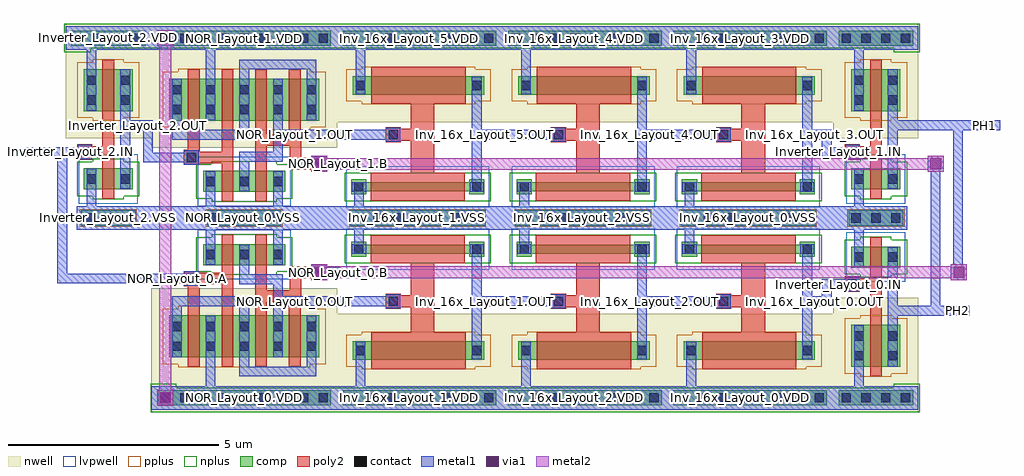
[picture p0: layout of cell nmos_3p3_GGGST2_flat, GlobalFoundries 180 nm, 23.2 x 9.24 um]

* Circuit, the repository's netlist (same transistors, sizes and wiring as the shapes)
* NGSPICE file created from Non_Ovl_CLK_Gen_Layout.ext - technology: gf180mcuC

.subckt nmos_3p3_T3QPFJ a_n316_n36# a_224_n22# a_n224_n66# VSUBS
X0 a_224_n22# a_n224_n66# a_n316_n36# VSUBS nfet_03v3 ad=0.152p pd=1.64u as=0.152p ps=1.64u w=0.22u l=2.24u
.ends

.subckt pmos_3p3_HYFKQ3 w_n398_n174# a_n312_n44# a_224_n44# a_n224_n88#
X0 a_224_n44# a_n224_n88# a_n312_n44# w_n398_n174# pfet_03v3 ad=0.194p pd=1.76u as=0.194p ps=1.76u w=0.44u l=2.24u
.ends

.subckt Inv_16x_Layout IN OUT VSS VDD
Xnmos_3p3_T3QPFJ_0 VSS OUT IN VSS nmos_3p3_T3QPFJ
Xpmos_3p3_HYFKQ3_0 VDD VDD OUT IN pmos_3p3_HYFKQ3
.ends

.subckt nmos_3p3_GGGST2 a_n28_n94# a_n116_n50# a_28_n50# VSUBS
X0 a_28_n50# a_n28_n94# a_n116_n50# VSUBS nfet_03v3 ad=0.22p pd=1.88u as=0.22p ps=1.88u w=0.5u l=0.28u
.ends

.subckt pmos_3p3_MNVUAR w_n202_n230# a_28_n100# a_n28_n144# a_n116_n100#
X0 a_28_n100# a_n28_n144# a_n116_n100# w_n202_n230# pfet_03v3 ad=0.44p pd=2.88u as=0.44p ps=2.88u w=1u l=0.28u
.ends

.subckt Inverter_Layout IN OUT VSS VDD
Xnmos_3p3_GGGST2_0 IN VSS OUT VSS nmos_3p3_GGGST2
Xpmos_3p3_MNVUAR_0 VDD OUT IN VDD pmos_3p3_MNVUAR
.ends

.subckt pmos_3p3_MEVUAR a_n196_n100# a_n52_n100# w_n282_n230# a_108_n100# a_52_n144#
+ a_n108_n144#
X0 a_n52_n100# a_n108_n144# a_n196_n100# w_n282_n230# pfet_03v3 ad=0.26p pd=1.52u as=0.44p ps=2.88u w=1u l=0.28u
X1 a_108_n100# a_52_n144# a_n52_n100# w_n282_n230# pfet_03v3 ad=0.44p pd=2.88u as=0.26p ps=1.52u w=1u l=0.28u
.ends

.subckt NOR_Layout A B OUT VDD VSS
Xpmos_3p3_MEVUAR_0 m1_99_317# OUT VDD m1_99_317# B B pmos_3p3_MEVUAR
Xpmos_3p3_MEVUAR_1 m1_99_317# VDD VDD m1_99_317# A A pmos_3p3_MEVUAR
Xnmos_3p3_GGGST2_0 B OUT VSS VSS nmos_3p3_GGGST2
Xnmos_3p3_GGGST2_1 A VSS OUT VSS nmos_3p3_GGGST2
.ends

**.subckt Non_Ovl_CLK_Gen_Layout VIN PH1A PH1 PH2 VSS VDD
XInv_16x_Layout_0 Inv_16x_Layout_0/IN Inverter_Layout_0/IN VSS VDD Inv_16x_Layout
XInv_16x_Layout_1 NOR_Layout_0/OUT Inv_16x_Layout_2/IN VSS VDD Inv_16x_Layout
XInv_16x_Layout_2 Inv_16x_Layout_2/IN Inv_16x_Layout_0/IN VSS VDD Inv_16x_Layout
XInv_16x_Layout_3 Inv_16x_Layout_3/IN Inverter_Layout_1/IN VSS VDD Inv_16x_Layout
XInv_16x_Layout_4 Inv_16x_Layout_4/IN Inv_16x_Layout_3/IN VSS VDD Inv_16x_Layout
XInv_16x_Layout_5 PH1A Inv_16x_Layout_4/IN VSS VDD Inv_16x_Layout
XInverter_Layout_1 Inverter_Layout_1/IN PH1 VSS VDD Inverter_Layout
XInverter_Layout_0 Inverter_Layout_0/IN PH2 VSS VDD Inverter_Layout
XInverter_Layout_2 VIN NOR_Layout_1/A VSS VDD Inverter_Layout
XNOR_Layout_0 VIN PH1 NOR_Layout_0/OUT VDD VSS NOR_Layout
XNOR_Layout_1 NOR_Layout_1/A PH2 PH1A VDD VSS NOR_Layout
**.ends

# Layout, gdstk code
import gdstk
lib = gdstk.Library(unit=1e-6, precision=1e-09)
def R(c, l, rs):  # rectangles x0, y0, x1, y1
    for r in rs: c.add(gdstk.rectangle(r[:2], r[2:], *l))
def A(c, l, x, y, w, h, nx, ny, dx, dy):  # array of equal rectangles
    R(c, l, [(x+i*dx, y+j*dy, x+i*dx+w, y+j*dy+h) for i in range(nx) for j in range(ny)])
nwell = (21, 0)
comp = (22, 0)
poly2 = (30, 0)
pplus = (31, 0)
nplus = (32, 0)
contact = (33, 0)
metal1 = (34, 0)
via1 = (35, 0)
metal2 = (36, 0)
lvpwell = (204, 0)

nmos_3p3_gggst2_flat = lib.new_cell('nmos_3p3_GGGST2_flat')
R(nmos_3p3_gggst2_flat, nwell, [(-4.365,-4.34,13.87,-2), (-4.365,-2,0.055,-1.385), (11.85,-2,13.87,-1.61), (-4.365,1.945,0.055,2.17), (-6.395,2.17,0.055,2.56), (11.85,2.17,13.87,2.56), (-6.395,2.56,13.87,4.9)])
A(nmos_3p3_gggst2_flat, comp, 0.185, -4.175, 3.65, 0.36, 3, 2, 3.93, 8.55)
A(nmos_3p3_gggst2_flat, comp, 0.43, -3.09, 3.12, 0.44, 3, 2, 3.93, 6.3)
A(nmos_3p3_gggst2_flat, comp, 0.39, -0.57, 3.16, 0.22, 3, 2, 3.93, 1.48)
A(nmos_3p3_gggst2_flat, comp, 0.37, 0.1, 3.2, 0.36, 3, 1, 3.93, 0)
R(nmos_3p3_gggst2_flat, comp, [(-4.215,-4.175,-0.095,-3.815), (11.975,-4.175,13.745,-3.815), (12.28,-3.26,13.44,-2.26), (-3.935,-3.035,-0.375,-2.035), (12.28,-0.9,13.44,-0.4), (-3.135,-0.84,-1.175,-0.34), (0.39,-0.64,0.75,-0.57), (3.19,-0.64,3.55,-0.57), (4.32,-0.64,4.68,-0.57), (7.12,-0.64,7.48,-0.57), (8.25,-0.64,8.61,-0.57), (11.05,-0.64,11.41,-0.57), (0.39,-0.35,0.75,-0.28), (3.19,-0.35,3.55,-0.28), (4.32,-0.35,4.68,-0.28), (7.12,-0.35,7.48,-0.28), (8.25,-0.35,8.61,-0.28), (11.05,-0.35,11.41,-0.28), (-6.035,0.1,-4.735,0.46), (-3.04,0.1,-1.27,0.46), (12.21,0.1,13.51,0.46), (0.39,0.84,0.75,0.91), (3.19,0.84,3.55,0.91), (4.32,0.84,4.68,0.91), (7.12,0.84,7.48,0.91), (8.25,0.84,8.61,0.91), (11.05,0.84,11.41,0.91), (-3.135,0.9,-1.175,1.4), (-5.965,0.96,-4.805,1.46), (12.28,0.96,13.44,1.46), (0.39,1.13,0.75,1.2), (3.19,1.13,3.55,1.2), (4.32,1.13,4.68,1.2), (7.12,1.13,7.48,1.2), (8.25,1.13,8.61,1.2), (11.05,1.13,11.41,1.2), (-3.935,2.595,-0.375,3.595), (-5.965,2.82,-4.805,3.82), (12.28,2.82,13.44,3.82), (-6.27,4.375,-4.5,4.735), (-4.215,4.375,-0.095,4.735), (11.975,4.375,13.745,4.735)])
A(nmos_3p3_gggst2_flat, poly2, 0.87, -3.31, 2.24, 0.88, 3, 2, 3.93, 6.3)
A(nmos_3p3_gggst2_flat, poly2, 1.805, -2.43, 0.56, 0.59, 3, 2, 3.93, 4.83)
A(nmos_3p3_gggst2_flat, poly2, 1.205, -1.88, 0.36, 0.04, 3, 2, 3.93, 0.32)
A(nmos_3p3_gggst2_flat, poly2, 1.205, -1.84, 1.16, 0.28, 3, 2, 3.93, 3.96)
A(nmos_3p3_gggst2_flat, poly2, 1.805, -1.56, 0.56, 0.77, 3, 2, 3.93, 2.91)
A(nmos_3p3_gggst2_flat, poly2, 0.85, -0.79, 2.24, 0.66, 3, 2, 3.93, 1.48)
A(nmos_3p3_gggst2_flat, poly2, 1.205, 2.08, 0.36, 0.04, 3, 2, 3.93, 0.32)
R(nmos_3p3_gggst2_flat, poly2, [(12.72,-3.48,13,-1.43), (-3.495,-3.255,-3.215,-1.34), (-2.695,-3.255,-2.415,-1.3), (-1.895,-3.255,-1.615,-1.715), (-1.095,-3.255,-0.815,-1.715), (-1.895,-1.715,-0.795,-1.435), (12.12,-1.47,12.48,-1.43), (-1.895,-1.435,-1.615,-0.12), (-1.075,-1.435,-0.795,-1.15), (12.12,-1.43,13,-1.15), (-3.59,-1.34,-3.215,-1.3), (-3.59,-1.3,-2.415,-1.02), (-0.555,-1.19,-0.195,-1.15), (-1.075,-1.15,-0.195,-0.87), (12.12,-1.15,12.48,-1.11), (12.72,-1.15,13,-0.18), (-3.59,-1.02,-3.23,-0.98), (-2.695,-1.02,-2.415,-0.12), (-0.555,-0.87,-0.195,-0.825), (-2.695,0.68,-2.415,1.58), (-1.895,0.68,-1.615,1.995), (-5.525,0.74,-5.245,1.71), (12.72,0.74,13,1.71), (-0.555,1.385,-0.195,1.43), (-1.075,1.43,-0.195,1.71), (-3.59,1.54,-3.23,1.58), (-3.59,1.58,-2.415,1.86), (-6.125,1.67,-5.765,1.71), (12.12,1.67,12.48,1.71), (-6.125,1.71,-5.245,1.99), (-1.075,1.71,-0.795,1.995), (-0.555,1.71,-0.195,1.75), (12.12,1.71,13,1.99), (-3.59,1.86,-3.215,1.9), (-2.695,1.86,-2.415,3.815), (-3.495,1.9,-3.215,3.815), (-6.125,1.99,-5.765,2.03), (-5.525,1.99,-5.245,4.04), (12.12,1.99,12.48,2.03), (12.72,1.99,13,4.04), (-1.895,1.995,-0.795,2.275), (-1.895,2.275,-1.615,3.815), (-1.095,2.275,-0.815,3.815)])
A(nmos_3p3_gggst2_flat, pplus, 0.64, -3.32, 2.7, 0.07, 3, 2, 3.93, 0.83)
A(nmos_3p3_gggst2_flat, pplus, 0.27, -3.25, 3.44, 0.76, 3, 2, 3.93, 6.3)
A(nmos_3p3_gggst2_flat, pplus, 0.34, 0.07, 3.24, 0.01, 3, 2, 3.93, 0.41)
A(nmos_3p3_gggst2_flat, pplus, 0.34, 0.08, 3.25, 0.4, 3, 1, 3.93, 0)
A(nmos_3p3_gggst2_flat, pplus, 0.64, 2.98, 2.7, 0.07, 3, 2, 3.93, 0.83)
R(nmos_3p3_gggst2_flat, pplus, [(12.49,-3.49,13.23,-3.42), (12.12,-3.42,13.6,-2.1), (-3.725,-3.265,-0.585,-3.195), (-4.095,-3.195,-0.215,-1.875), (12.49,-2.1,13.23,-2.03), (-3.725,-1.875,-0.585,-1.805), (-6.065,0.07,-4.705,0.49), (-3.07,0.07,-1.24,0.49), (12.18,0.07,13.54,0.49), (-3.725,2.365,-0.585,2.435), (-4.095,2.435,-0.215,3.755), (-5.755,2.59,-5.015,2.66), (12.49,2.59,13.23,2.66), (-6.125,2.66,-4.645,3.98), (12.12,2.66,13.6,3.98), (-3.725,3.755,-0.585,3.825), (-5.755,3.98,-5.015,4.05), (12.49,3.98,13.23,4.05)])
A(nmos_3p3_gggst2_flat, nplus, 0.23, -0.8, 3.48, 0.68, 3, 2, 3.93, 1.48)
R(nmos_3p3_gggst2_flat, nplus, [(-4.375,-4.335,13.905,-3.75), (-4.375,-3.75,-3.775,-3.655), (13.28,-3.75,13.905,-3.655), (12.49,-1.13,13.23,-1.06), (-2.925,-1.07,-1.385,-1), (12.12,-1.06,13.6,-0.24), (-3.295,-1,-1.015,-0.18), (12.49,-0.24,13.23,-0.17), (-2.925,-0.18,-1.385,-0.11), (-2.925,0.67,-1.385,0.74), (-5.755,0.73,-5.015,0.8), (12.49,0.73,13.23,0.8), (-3.295,0.74,-1.015,1.56), (-6.125,0.8,-4.645,1.62), (12.12,0.8,13.6,1.62), (-2.925,1.56,-1.385,1.63), (-5.755,1.62,-5.015,1.69), (12.49,1.62,13.23,1.69), (-6.43,4.215,-5.805,4.31), (13.28,4.215,13.905,4.31), (-6.43,4.31,13.905,4.895)])
A(nmos_3p3_gggst2_flat, contact, -4.145, -4.105, 0.22, 0.22, 9, 2, 0.47, 8.55)
A(nmos_3p3_gggst2_flat, contact, 0.255, -4.105, 0.22, 0.22, 8, 2, 0.47, 8.55)
A(nmos_3p3_gggst2_flat, contact, 4.185, -4.105, 0.22, 0.22, 8, 2, 0.47, 8.55)
A(nmos_3p3_gggst2_flat, contact, 8.115, -4.105, 0.22, 0.22, 8, 2, 0.47, 8.55)
A(nmos_3p3_gggst2_flat, contact, 12.045, -4.105, 0.22, 0.22, 4, 2, 0.47, 8.55)
A(nmos_3p3_gggst2_flat, contact, -3.865, -2.88, 0.22, 0.22, 5, 2, 0.8, 0.47)
A(nmos_3p3_gggst2_flat, contact, 1.275, -1.81, 0.22, 0.22, 3, 2, 3.93, 3.96)
A(nmos_3p3_gggst2_flat, contact, -3.065, -0.7, 0.22, 0.22, 3, 2, 0.8, 1.74)
A(nmos_3p3_gggst2_flat, contact, -5.965, 0.17, 0.22, 0.22, 3, 1, 0.47, 0)
A(nmos_3p3_gggst2_flat, contact, -2.97, 0.17, 0.22, 0.22, 4, 1, 0.47, 0)
A(nmos_3p3_gggst2_flat, contact, 0.44, 0.17, 0.22, 0.22, 7, 1, 0.47, 0)
A(nmos_3p3_gggst2_flat, contact, 4.37, 0.17, 0.22, 0.22, 7, 1, 0.47, 0)
A(nmos_3p3_gggst2_flat, contact, 8.3, 0.17, 0.22, 0.22, 7, 1, 0.47, 0)
A(nmos_3p3_gggst2_flat, contact, 12.28, 0.17, 0.22, 0.22, 3, 1, 0.47, 0)
A(nmos_3p3_gggst2_flat, contact, -3.865, 2.75, 0.22, 0.22, 5, 2, 0.8, 0.47)
A(nmos_3p3_gggst2_flat, contact, -6.2, 4.445, 0.22, 0.22, 4, 1, 0.47, 0)
R(nmos_3p3_gggst2_flat, contact, [(12.35,-3.105,12.57,-2.885), (13.15,-3.105,13.37,-2.885), (0.5,-2.98,0.72,-2.76), (3.26,-2.98,3.48,-2.76), (4.43,-2.98,4.65,-2.76), (7.19,-2.98,7.41,-2.76), (8.36,-2.98,8.58,-2.76), (11.12,-2.98,11.34,-2.76), (12.35,-2.635,12.57,-2.415), (13.15,-2.635,13.37,-2.415), (12.19,-1.4,12.41,-1.18), (-3.52,-1.27,-3.3,-1.05), (-0.485,-1.12,-0.265,-0.9), (12.35,-0.76,12.57,-0.54), (13.15,-0.76,13.37,-0.54), (0.46,-0.57,0.68,-0.35), (3.26,-0.57,3.48,-0.35), (4.39,-0.57,4.61,-0.35), (7.19,-0.57,7.41,-0.35), (8.32,-0.57,8.54,-0.35), (11.12,-0.57,11.34,-0.35), (0.46,0.91,0.68,1.13), (3.26,0.91,3.48,1.13), (4.39,0.91,4.61,1.13), (7.19,0.91,7.41,1.13), (8.32,0.91,8.54,1.13), (11.12,0.91,11.34,1.13), (-5.895,1.1,-5.675,1.32), (-5.095,1.1,-4.875,1.32), (12.35,1.1,12.57,1.32), (13.15,1.1,13.37,1.32), (-0.485,1.455,-0.265,1.675), (-3.52,1.61,-3.3,1.83), (-6.055,1.74,-5.835,1.96), (12.19,1.74,12.41,1.96), (-5.895,2.975,-5.675,3.195), (-5.095,2.975,-4.875,3.195), (12.35,2.975,12.57,3.195), (13.15,2.975,13.37,3.195), (0.5,3.32,0.72,3.54), (3.26,3.32,3.48,3.54), (4.43,3.32,4.65,3.54), (7.19,3.32,7.41,3.54), (8.36,3.32,8.58,3.54), (11.12,3.32,11.34,3.54), (-5.895,3.445,-5.675,3.665), (-5.095,3.445,-4.875,3.665), (12.35,3.445,12.57,3.665), (13.15,3.445,13.37,3.665)])
A(nmos_3p3_gggst2_flat, metal1, 0.495, -3.715, 0.23, 1.055, 3, 2, 3.93, 6.935)
A(nmos_3p3_gggst2_flat, metal1, 3.255, -3.08, 0.23, 1.265, 3, 2, 3.93, 5.455)
A(nmos_3p3_gggst2_flat, metal1, 1.205, -1.87, 0.35, 0.055, 3, 2, 3.93, 4.245)
A(nmos_3p3_gggst2_flat, metal1, 1.205, -1.585, 0.35, 0.035, 3, 2, 3.93, 3.695)
A(nmos_3p3_gggst2_flat, metal1, 3.255, -1.585, 0.23, 1.01, 3, 2, 3.93, 2.72)
A(nmos_3p3_gggst2_flat, metal1, 1.215, -1.55, 0.34, 0.02, 3, 2, 3.93, 3.64)
A(nmos_3p3_gggst2_flat, metal1, 0.455, -0.345, 0.23, 0.345, 3, 2, 3.93, 0.905)
R(nmos_3p3_gggst2_flat, metal1, [(-4.365,-4.275,13.87,-3.715), (-3.07,-3.715,-2.84,-2.045), (12.345,-3.715,12.575,-2.27), (-2.27,-3.485,-0.44,-3.255), (-2.27,-3.255,-2.04,-1.815), (-0.67,-3.255,-0.44,-2.045), (13.145,-3.25,13.375,-2.04), (-3.87,-3.025,-3.64,-1.815), (-1.47,-3.025,-1.24,-1.815), (13.145,-2.04,15.08,-1.81), (-3.87,-1.815,-2.04,-1.585), (-1.47,-1.815,1.555,-1.585), (3.255,-1.815,5.485,-1.585), (7.185,-1.815,9.415,-1.585), (11.115,-1.815,11.805,-1.585), (13.145,-1.81,13.375,-0.41), (14.165,-1.81,14.395,1.375), (-1.47,-1.585,-1.24,-1.29), (11.575,-1.585,11.805,-1.405), (12.13,-1.46,12.47,-1.405), (11.575,-1.405,12.47,-1.175), (-3.58,-1.33,-3.24,-1.275), (-2.27,-1.29,-1.24,-1.06), (-6.595,-1.275,-3.24,-1.045), (14.645,-1.2,15.025,-0.82), (-0.545,-1.18,-0.205,-1.125), (12.13,-1.175,12.47,-1.12), (-0.545,-1.125,0.145,-0.89), (-2.27,-1.06,-2.04,-0.35), (-6.595,-1.045,-6.365,1.735), (-3.58,-1.045,-3.24,-0.99), (-0.545,-0.89,-0.205,-0.835), (12.345,-0.89,12.575,0), (-3.07,-0.83,-2.84,0), (-1.47,-0.83,-1.24,0), (14.7,-0.82,14.93,2.37), (0.4,-0.575,0.74,-0.345), (3.2,-0.575,3.54,-0.345), (4.33,-0.575,4.67,-0.345), (7.13,-0.575,7.47,-0.345), (8.26,-0.575,8.6,-0.345), (11.06,-0.575,11.4,-0.345), (-6.135,0,13.61,0.56), (-5.9,0.56,-5.67,1.45), (-3.07,0.56,-2.84,1.39), (-1.47,0.56,-1.24,1.39), (12.345,0.56,12.575,1.45), (0.4,0.905,0.74,1.135), (3.2,0.905,3.54,1.135), (4.33,0.905,4.67,1.135), (7.13,0.905,7.47,1.135), (8.26,0.905,8.6,1.135), (11.06,0.905,11.4,1.135), (-2.27,0.91,-2.04,1.62), (-5.1,0.97,-4.87,2.37), (13.145,0.97,13.375,2.37), (14.09,1.375,14.47,1.755), (-0.545,1.395,-0.205,1.45), (-0.545,1.45,0.145,1.685), (-3.58,1.55,-3.24,1.605), (-4.56,1.605,-3.24,1.835), (-2.27,1.62,-1.24,1.85), (-6.115,1.68,-5.775,1.735), (12.13,1.68,12.47,1.735), (-0.545,1.685,-0.205,1.74), (-7.39,1.735,-5.775,1.965), (11.575,1.735,12.47,1.965), (-4.56,1.835,-4.33,2.37), (-3.58,1.835,-3.24,1.89), (-1.47,1.85,-1.24,2.145), (-6.115,1.965,-5.775,2.02), (11.575,1.965,11.805,2.145), (12.13,1.965,12.47,2.02), (-3.87,2.145,-2.04,2.375), (-1.47,2.145,1.555,2.375), (3.255,2.145,5.485,2.375), (7.185,2.145,9.415,2.375), (11.115,2.145,11.805,2.375), (-5.1,2.37,-4.33,2.6), (13.145,2.37,15.81,2.6), (-3.87,2.375,-3.64,3.585), (-2.27,2.375,-2.04,3.815), (-1.47,2.375,-1.24,3.585), (-5.1,2.6,-4.87,3.81), (-4.56,2.6,-4.33,2.605), (13.145,2.6,13.375,3.81), (-3.07,2.605,-2.84,4.275), (-0.67,2.605,-0.44,3.815), (-5.9,2.83,-5.67,4.275), (12.345,2.83,12.575,4.275), (-2.27,3.815,-0.44,4.045), (-6.395,4.275,13.87,4.835)])
R(nmos_3p3_gggst2_flat, via1, [(-4.165,-4.125,-3.905,-3.865), (-0.505,-1.14,-0.245,-0.88), (14.705,-1.14,14.965,-0.88), (-0.505,1.435,-0.245,1.695), (14.15,1.435,14.41,1.695), (-4.165,4.425,-3.905,4.685)])
R(nmos_3p3_gggst2_flat, metal2, [(-4.225,-4.185,-3.845,-3.805), (-4.175,-3.805,-3.895,4.365), (-0.565,-1.2,-0.185,-1.15), (14.645,-1.2,15.025,-1.15), (-0.565,-1.15,15.025,-0.87), (-0.565,-0.87,-0.185,-0.82), (14.645,-0.87,15.025,-0.82), (-0.565,1.375,-0.185,1.425), (14.09,1.375,14.47,1.425), (-0.565,1.425,14.47,1.705), (-0.565,1.705,-0.185,1.755), (14.09,1.705,14.47,1.755), (-4.225,4.365,-3.845,4.745)])
A(nmos_3p3_gggst2_flat, lvpwell, 0.27, -0.945, 3.4, 0.97, 3, 2, 3.93, 1.48)
R(nmos_3p3_gggst2_flat, lvpwell, [(12.16,-1.24,13.56,-0.06), (-3.255,-1.18,-1.055,0), (-3.255,0.56,-1.055,1.74), (-6.085,0.62,-4.685,1.8), (12.16,0.62,13.56,1.8)])
nmos_3p3_gggst2_flat.add(gdstk.Label('Inverter_Layout_2.VSS', (-5.385,0.28), layer=34, texttype=0))
nmos_3p3_gggst2_flat.add(gdstk.Label('Inverter_Layout_2.VDD', (-5.385,4.57), layer=34, texttype=0))
nmos_3p3_gggst2_flat.add(gdstk.Label('Inverter_Layout_2.IN', (-6.285,1.85), layer=34, texttype=0))
nmos_3p3_gggst2_flat.add(gdstk.Label('Inverter_Layout_2.OUT', (-4.69,2.485), layer=34, texttype=0))
nmos_3p3_gggst2_flat.add(gdstk.Label('NOR_Layout_0.VSS', (-2.18,0.28), layer=34, texttype=0))
nmos_3p3_gggst2_flat.add(gdstk.Label('NOR_Layout_0.VDD', (-2.155,-3.995), layer=34, texttype=0))
nmos_3p3_gggst2_flat.add(gdstk.Label('NOR_Layout_0.A', (-3.75,-1.16), layer=34, texttype=0))
nmos_3p3_gggst2_flat.add(gdstk.Label('NOR_Layout_0.B', (0.075,-1.01), layer=34, texttype=0))
nmos_3p3_gggst2_flat.add(gdstk.Label('NOR_Layout_0.OUT', (-0.96,-1.7), layer=34, texttype=0))
nmos_3p3_gggst2_flat.add(gdstk.Label('NOR_Layout_1.VSS', (-2.18,0.28), layer=34, texttype=0))
nmos_3p3_gggst2_flat.add(gdstk.Label('NOR_Layout_1.VDD', (-2.155,4.555), layer=34, texttype=0))
nmos_3p3_gggst2_flat.add(gdstk.Label('NOR_Layout_1.A', (-3.75,1.72), layer=34, texttype=0))
nmos_3p3_gggst2_flat.add(gdstk.Label('NOR_Layout_1.B', (0.075,1.57), layer=34, texttype=0))
nmos_3p3_gggst2_flat.add(gdstk.Label('NOR_Layout_1.OUT', (-0.96,2.26), layer=34, texttype=0))
nmos_3p3_gggst2_flat.add(gdstk.Label('Inv_16x_Layout_1.VSS', (1.96,0.28), layer=34, texttype=0))
nmos_3p3_gggst2_flat.add(gdstk.Label('Inv_16x_Layout_1.VDD', (1.775,-3.995), layer=34, texttype=0))
nmos_3p3_gggst2_flat.add(gdstk.Label('Inv_16x_Layout_1.IN', (1.005,-1.7), layer=34, texttype=0))
nmos_3p3_gggst2_flat.add(gdstk.Label('Inv_16x_Layout_1.OUT', (3.545,-1.7), layer=34, texttype=0))
nmos_3p3_gggst2_flat.add(gdstk.Label('Inv_16x_Layout_5.VSS', (1.96,0.28), layer=34, texttype=0))
nmos_3p3_gggst2_flat.add(gdstk.Label('Inv_16x_Layout_5.VDD', (1.775,4.555), layer=34, texttype=0))
nmos_3p3_gggst2_flat.add(gdstk.Label('Inv_16x_Layout_5.IN', (1.005,2.26), layer=34, texttype=0))
nmos_3p3_gggst2_flat.add(gdstk.Label('Inv_16x_Layout_5.OUT', (3.545,2.26), layer=34, texttype=0))
nmos_3p3_gggst2_flat.add(gdstk.Label('Inv_16x_Layout_2.VSS', (5.89,0.28), layer=34, texttype=0))
nmos_3p3_gggst2_flat.add(gdstk.Label('Inv_16x_Layout_2.VDD', (5.705,-3.995), layer=34, texttype=0))
nmos_3p3_gggst2_flat.add(gdstk.Label('Inv_16x_Layout_2.IN', (4.935,-1.7), layer=34, texttype=0))
nmos_3p3_gggst2_flat.add(gdstk.Label('Inv_16x_Layout_2.OUT', (7.475,-1.7), layer=34, texttype=0))
nmos_3p3_gggst2_flat.add(gdstk.Label('Inv_16x_Layout_4.VSS', (5.89,0.28), layer=34, texttype=0))
nmos_3p3_gggst2_flat.add(gdstk.Label('Inv_16x_Layout_4.VDD', (5.705,4.555), layer=34, texttype=0))
nmos_3p3_gggst2_flat.add(gdstk.Label('Inv_16x_Layout_4.IN', (4.935,2.26), layer=34, texttype=0))
nmos_3p3_gggst2_flat.add(gdstk.Label('Inv_16x_Layout_4.OUT', (7.475,2.26), layer=34, texttype=0))
nmos_3p3_gggst2_flat.add(gdstk.Label('Inv_16x_Layout_0.VSS', (9.82,0.28), layer=34, texttype=0))
nmos_3p3_gggst2_flat.add(gdstk.Label('Inv_16x_Layout_0.VDD', (9.635,-3.995), layer=34, texttype=0))
nmos_3p3_gggst2_flat.add(gdstk.Label('Inv_16x_Layout_0.IN', (8.865,-1.7), layer=34, texttype=0))
nmos_3p3_gggst2_flat.add(gdstk.Label('Inv_16x_Layout_0.OUT', (11.405,-1.7), layer=34, texttype=0))
nmos_3p3_gggst2_flat.add(gdstk.Label('Inv_16x_Layout_3.VSS', (9.82,0.28), layer=34, texttype=0))
nmos_3p3_gggst2_flat.add(gdstk.Label('Inv_16x_Layout_3.VDD', (9.635,4.555), layer=34, texttype=0))
nmos_3p3_gggst2_flat.add(gdstk.Label('Inv_16x_Layout_3.IN', (8.865,2.26), layer=34, texttype=0))
nmos_3p3_gggst2_flat.add(gdstk.Label('Inv_16x_Layout_3.OUT', (11.405,2.26), layer=34, texttype=0))
nmos_3p3_gggst2_flat.add(gdstk.Label('Inverter_Layout_0.VSS', (12.86,0.28), layer=34, texttype=0))
nmos_3p3_gggst2_flat.add(gdstk.Label('Inverter_Layout_0.VDD', (12.86,-4.01), layer=34, texttype=0))
nmos_3p3_gggst2_flat.add(gdstk.Label('Inverter_Layout_0.IN', (11.96,-1.29), layer=34, texttype=0))
nmos_3p3_gggst2_flat.add(gdstk.Label('Inverter_Layout_0.OUT', (13.555,-1.925), layer=34, texttype=0))
nmos_3p3_gggst2_flat.add(gdstk.Label('Inverter_Layout_1.VSS', (12.86,0.28), layer=34, texttype=0))
nmos_3p3_gggst2_flat.add(gdstk.Label('Inverter_Layout_1.VDD', (12.86,4.57), layer=34, texttype=0))
nmos_3p3_gggst2_flat.add(gdstk.Label('Inverter_Layout_1.IN', (11.96,1.85), layer=34, texttype=0))
nmos_3p3_gggst2_flat.add(gdstk.Label('Inverter_Layout_1.OUT', (13.555,2.485), layer=34, texttype=0))
nmos_3p3_gggst2_flat.add(gdstk.Label('VIN', (-7.24,1.885), layer=34, texttype=10))
nmos_3p3_gggst2_flat.add(gdstk.Label('PH1', (15.45,2.485), layer=34, texttype=10))
nmos_3p3_gggst2_flat.add(gdstk.Label('PH2', (14.81,-1.92), layer=34, texttype=10))
nmos_3p3_gggst2_flat.add(gdstk.Label('VSS', (1.96,0.29), layer=34, texttype=10))
nmos_3p3_gggst2_flat.add(gdstk.Label('VDD', (1.775,4.56), layer=34, texttype=10))

lib.write_gds('nmos_3p3_GGGST2_flat.gds')
